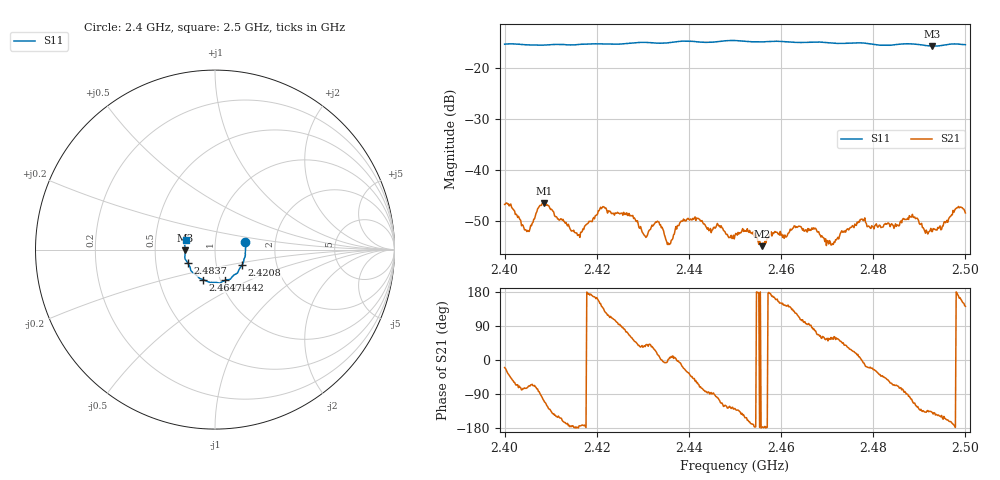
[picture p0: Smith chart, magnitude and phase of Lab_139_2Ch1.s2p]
# Hz S RI R 50
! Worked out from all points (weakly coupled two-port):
!   601 points, 2.4 GHz to 2.5 GHz, reference 50 ohm
!   highest |S21| = -46.54 dB at 2.4085 GHz (marker M1); lowest = -55.1 dB at 2.4558 GHz (marker M2)
!   lowest |S11| = -15.6 dB at 2.4928 GHz (marker M3), VSWR 1.40, Z = 35.8 - j0.346 ohm
!   |S11| at or under -10 dB: start of sweep to end of sweep
!   S12 and S22 are empty: the file has one direction only
!   S11 on the Smith chart (normalised r, x): 2.4 GHz: 1.40, +0.12; 2.4208 GHz: 1.33, -0.24; 2.4442 GHz: 1.05, -0.37; 2.4647 GHz: 0.83, -0.29; 2.4837 GHz: 0.73, -0.11; 2.5 GHz: 0.72, +0.08
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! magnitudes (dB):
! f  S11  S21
! 2.4 GHz  -15.2  -46.8
! 2.4048 GHz  -15.4  -52.2
! 2.4085 GHz  -15.4  -46.5
! 2.4167 GHz  -15.2  -52.3
! 2.4208 GHz  -15.2  -47.4
! 2.4275 GHz  -15.0  -49.1
! 2.4305 GHz  -14.9  -53.1
! 2.4333 GHz  -15.0  -50.2
! 2.4355 GHz  -15.0  -54.4
! 2.4387 GHz  -14.6  -50.1
! 2.4442 GHz  -14.9  -51.4
! 2.45 GHz  -14.5  -52.9
! 2.4558 GHz  -14.8  -55.1
! 2.4647 GHz  -14.9  -51.9
! 2.4667 GHz  -14.8  -51.5
! 2.4712 GHz  -15.0  -54.5
! 2.4777 GHz  -15.0  -49.8
! 2.4833 GHz  -15.5  -50.5
! 2.4837 GHz  -15.4  -51.2
! 2.4883 GHz  -15.2  -49.3
! 2.4928 GHz  -15.6  -52.2
! 2.5 GHz  -15.3  -48.5
